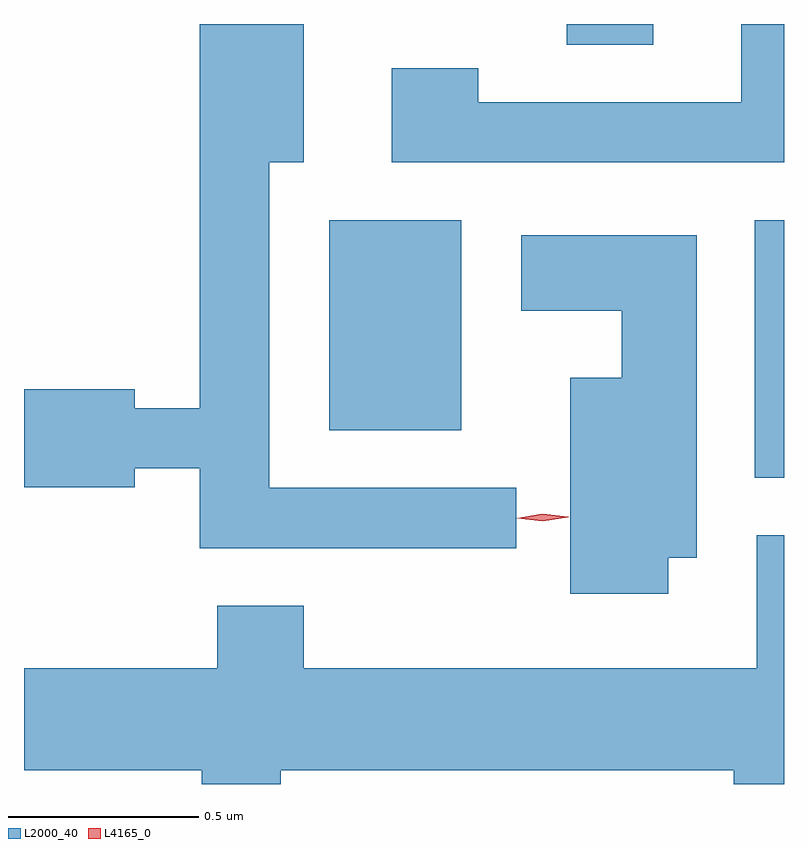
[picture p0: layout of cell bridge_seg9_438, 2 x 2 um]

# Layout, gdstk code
import gdstk
lib = gdstk.Library(unit=1e-6, precision=1e-09)
def R(c, l, rs):  # rectangles x0, y0, x1, y1
    for r in rs: c.add(gdstk.rectangle(r[:2], r[2:], *l))
def P(c, l, *ps):  # polygons
    for p in ps: c.add(gdstk.Polygon(p, *l))
L2000_40 = (2000, 40)
L4165_0 = (4165, 0)

bridge_seg9_438 = lib.new_cell('bridge_seg9_438')
R(bridge_seg9_438, L2000_40, [(568.626,2061.406,568.703,2062.084), (567.506,2061.531,567.854,2062.084), (568.131,2062.546,568.359,2062.6)])
P(bridge_seg9_438, L2000_40, [(568.703,2062.6),(568.591,2062.6),(568.591,2062.394),(567.899,2062.394),(567.899,2062.484),(567.671,2062.484),(567.671,2062.236),(568.703,2062.236)],
  [(567.998,2061.379),(567.349,2061.379),(567.349,2062.236),(567.439,2062.236),(567.439,2062.6),(567.166,2062.6),(567.166,2061.589),(566.994,2061.589),(566.994,2061.639),(566.703,2061.639),(566.703,2061.381),(566.994,2061.381),(566.994,2061.431),(567.166,2061.431),(567.166,2061.221),(567.998,2061.221)],
  [(568.399,2061.196),(568.474,2061.196),(568.474,2062.044),(568.011,2062.044),(568.011,2061.846),(568.276,2061.846),(568.276,2061.669),(568.141,2061.669),(568.141,2061.101),(568.399,2061.101)],
  [(567.379,2060.636),(568.571,2060.636),(568.571,2060.6),(568.703,2060.6),(568.703,2061.254),(568.631,2061.254),(568.631,2060.904),(567.439,2060.904),(567.439,2061.069),(567.211,2061.069),(567.211,2060.904),(566.703,2060.904),(566.703,2060.636),(567.171,2060.636),(567.171,2060.6),(567.379,2060.6)])
P(bridge_seg9_438, L4165_0, [(568.068,2061.292),(568,2061.299),(568,2061.3),(568,2061.3),(568.067,2061.311),(568.135,2061.303),(568.136,2061.303),(568.135,2061.302)])

lib.write_gds('bridge_seg9_438.gds')
